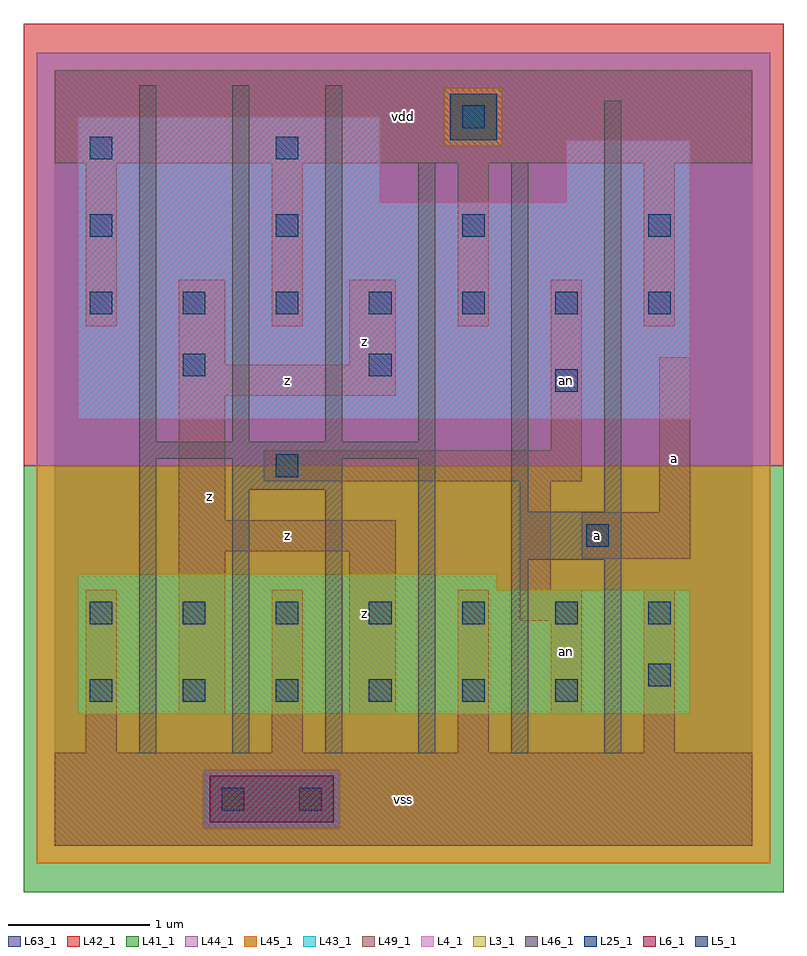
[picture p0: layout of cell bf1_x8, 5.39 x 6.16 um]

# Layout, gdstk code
import gdstk
lib = gdstk.Library(unit=1e-6, precision=1e-09)
def R(c, l, rs):  # rectangles x0, y0, x1, y1
    for r in rs: c.add(gdstk.rectangle(r[:2], r[2:], *l))
def A(c, l, x, y, w, h, nx, ny, dx, dy):  # array of equal rectangles
    R(c, l, [(x+i*dx, y+j*dy, x+i*dx+w, y+j*dy+h) for i in range(nx) for j in range(ny)])
L3_1 = (3, 1)
L4_1 = (4, 1)
L5_1 = (5, 1)
L6_1 = (6, 1)
L25_1 = (25, 1)
L41_1 = (41, 1)
L42_1 = (42, 1)
L43_1 = (43, 1)
L44_1 = (44, 1)
L45_1 = (45, 1)
L46_1 = (46, 1)
L49_1 = (49, 1)
L63_1 = (63, 1)

bf1_x8 = lib.new_cell('bf1_x8')
R(bf1_x8, L3_1, [(0.165,0.935,4.51,1.815), (0.165,1.815,3.135,1.925)])
R(bf1_x8, L4_1, [(0.165,3.025,4.51,4.565), (0.165,4.565,2.31,5.17), (3.63,4.565,4.51,5.005)])
R(bf1_x8, L5_1, [(2.805,5.005,3.135,5.335)])
R(bf1_x8, L6_1, [(1.1,0.165,1.98,0.495)])
A(bf1_x8, L25_1, 0.25, 1.02, 0.16, 0.16, 6, 1, 0.66, 0)
A(bf1_x8, L25_1, 0.25, 1.57, 0.16, 0.16, 7, 2, 0.66, 2.2)
A(bf1_x8, L25_1, 0.25, 4.32, 0.16, 0.16, 4, 1, 1.32, 0)
R(bf1_x8, L25_1, [(1.185,0.25,1.345,0.41), (1.735,0.25,1.895,0.41), (4.21,1.13,4.37,1.29), (3.77,2.12,3.93,2.28), (1.57,2.615,1.73,2.775), (3.55,3.22,3.71,3.38), (0.91,3.33,1.07,3.49), (2.23,3.33,2.39,3.49), (0.25,4.87,0.41,5.03), (1.57,4.87,1.73,5.03), (2.89,5.09,3.05,5.25)])
R(bf1_x8, L41_1, [(-0.22,-0.33,5.17,2.695)])
R(bf1_x8, L42_1, [(-0.22,2.695,5.17,5.83)])
R(bf1_x8, L43_1, [(1.1,0.165,1.98,0.495), (0.165,0.935,4.51,1.815), (0.165,1.815,3.135,1.925), (0.165,3.025,4.51,4.565), (0.165,4.565,2.31,5.17), (3.63,4.565,4.51,5.005), (2.805,5.005,3.135,5.335)])
R(bf1_x8, L44_1, [(1.06,0.125,2.02,0.535), (-0.125,2.695,5.075,4.965), (-0.125,4.965,2.765,5.375), (3.175,4.965,5.075,5.375), (-0.125,5.375,5.075,5.625)])
R(bf1_x8, L45_1, [(-0.125,-0.125,5.075,0.125), (-0.125,0.125,1.06,0.535), (2.02,0.125,5.075,0.535), (-0.125,0.535,5.075,2.695), (2.765,4.965,3.175,5.375)])
A(bf1_x8, L46_1, 0.6, 2.865, 0.12, 2.53, 3, 1, 0.66, 0)
R(bf1_x8, L46_1, [(0.6,0.655,0.72,2.745), (1.26,0.655,1.38,2.525), (1.92,0.655,2.04,2.525), (2.58,0.655,2.7,2.745), (3.24,0.655,3.36,2.03), (3.9,0.655,4.02,2.03), (3.24,2.03,4.02,2.37), (3.24,2.37,3.36,4.845), (3.9,2.37,4.02,5.285), (1.26,2.525,2.04,2.745), (0.6,2.745,2.7,2.865), (2.58,2.865,2.7,4.845)])
A(bf1_x8, L49_1, 0.22, 0.66, 0.22, 1.155, 4, 2, 1.32, 3.025)
R(bf1_x8, L49_1, [(0,0,4.95,0.66), (0.88,0.935,1.21,2.09), (2.09,0.935,2.42,2.09), (3.52,0.935,3.74,1.595), (3.3,1.595,3.74,1.815), (3.3,1.815,3.52,2.585), (3.74,2.035,4.51,2.365), (0.88,2.09,2.42,2.31), (0.88,2.31,1.21,3.19), (4.29,2.365,4.51,3.465), (1.485,2.585,3.74,2.805), (3.52,2.805,3.74,4.015), (0.88,3.19,2.42,3.41), (0.88,3.41,1.21,4.015), (2.09,3.41,2.42,4.015), (0,4.84,4.95,5.5)])
R(bf1_x8, L63_1, [(0,0,4.95,5.5)])
bf1_x8.add(gdstk.Label('z', (1.1,2.475), layer=49, texttype=1))
bf1_x8.add(gdstk.Label('z', (1.1,2.475), layer=49, texttype=1))
bf1_x8.add(gdstk.Label('z', (1.65,2.2), layer=49, texttype=1))
bf1_x8.add(gdstk.Label('z', (2.2,1.65), layer=49, texttype=1))
bf1_x8.add(gdstk.Label('z', (2.2,1.65), layer=49, texttype=1))
bf1_x8.add(gdstk.Label('z', (1.65,2.2), layer=49, texttype=1))
bf1_x8.add(gdstk.Label('z', (2.2,3.575), layer=49, texttype=1))
bf1_x8.add(gdstk.Label('z', (1.65,3.3), layer=49, texttype=1))
bf1_x8.add(gdstk.Label('z', (2.2,3.575), layer=49, texttype=1))
bf1_x8.add(gdstk.Label('z', (1.65,3.3), layer=49, texttype=1))
bf1_x8.add(gdstk.Label('vss', (2.475,0.33), layer=49, texttype=1))
bf1_x8.add(gdstk.Label('vss', (2.475,0.33), layer=49, texttype=1))
bf1_x8.add(gdstk.Label('an', (3.63,1.375), layer=49, texttype=1))
bf1_x8.add(gdstk.Label('an', (3.63,3.3), layer=49, texttype=1))
bf1_x8.add(gdstk.Label('vdd', (2.475,5.17), layer=49, texttype=1))
bf1_x8.add(gdstk.Label('vdd', (2.475,5.17), layer=49, texttype=1))
bf1_x8.add(gdstk.Label('a', (3.85,2.2), layer=49, texttype=1))
bf1_x8.add(gdstk.Label('a', (3.85,2.2), layer=49, texttype=1))
bf1_x8.add(gdstk.Label('a', (4.4,2.75), layer=49, texttype=1))
bf1_x8.add(gdstk.Label('a', (4.4,2.75), layer=49, texttype=1))

lib.write_gds('bf1_x8.gds')
